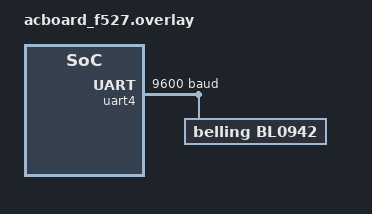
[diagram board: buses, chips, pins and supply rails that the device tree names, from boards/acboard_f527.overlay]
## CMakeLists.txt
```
# SPDX-License-Identifier: Apache-2.0

cmake_minimum_required(VERSION 3.20.0)

find_package(Zephyr REQUIRED HINTS $ENV{ZEPHYR_BASE})
project(acboard_bl0942_test)

target_sources(app PRIVATE src/main.c)
```

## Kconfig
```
# Copyright (c) 2026
# SPDX-License-Identifier: Apache-2.0

mainmenu "ACBoard BL0942 test"

source "Kconfig.zephyr"
```

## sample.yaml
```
sample:
  name: ACBoard BL0942 UART test
common:
  platform_allow:
    - acboard_f527
  tags:
    - sensor
    - uart
tests:
  sample.boards.acboard.bl0942_test:
    build_only: true
```

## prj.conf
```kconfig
CONFIG_SENSOR=y
CONFIG_SERIAL=y
CONFIG_UART_INTERRUPT_DRIVEN=y
CONFIG_PRINTK=y
CONFIG_LOG=n

CONFIG_MAIN_STACK_SIZE=1536
CONFIG_HEAP_MEM_POOL_SIZE=0
```

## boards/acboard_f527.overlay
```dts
/*
 * Copyright (c) 2026
 * SPDX-License-Identifier: Apache-2.0
 */

&uart4 {
	status = "okay";
	current-speed = <9600>;
	pinctrl-0 = <&uart4_default>;
	pinctrl-names = "default";

	bl0942: bl0942 {
		compatible = "belling,bl0942";
		/*
		 * ACBoard analog front-end (CAMS_METER schematic):
		 *  - Current: 2000:1 CT with 1.5 ohm burden, i.e. an effective
		 *    transimpedance of 1.5/2000 = 0.75 mOhm (32 A -> 24 mV).
		 *  - Voltage: ZMPT107 VT, 100k primary / 24.9 ohm burden, so
		 *    220 V gives 54.78 mV at VP -> ratio 220 / 0.05478 ~= 4016.
		 */
		voltage-divider-ratio = <4016>;
		current-shunt-microohm = <750>;
	};
};
```

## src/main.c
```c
/*
 * Copyright (c) 2026
 * SPDX-License-Identifier: Apache-2.0
 */

#include <stdlib.h>

#include <zephyr/device.h>
#include <zephyr/drivers/sensor.h>
#include <zephyr/kernel.h>
#include <zephyr/sys/printk.h>

#include <zephyr/drivers/sensor/bl0942.h>

#define BL0942_POLL_INTERVAL K_SECONDS(2)

static const struct device *const bl0942 = DEVICE_DT_GET_ONE(belling_bl0942);

static void print_channel(const char *name, enum sensor_channel chan, const char *unit)
{
	struct sensor_value val;
	int ret;

	ret = sensor_channel_get(bl0942, chan, &val);
	if (ret < 0) {
		printk("  %s: get failed (%d)\n", name, ret);
		return;
	}

	printk("  %s: %d.%06d %s\n", name, val.val1, abs(val.val2), unit);
}

int main(void)
{
	int ret;

	printk("\nACBoard BL0942 energy-meter sensor test\n");

	if (!device_is_ready(bl0942)) {
		printk("BL0942 device not ready\n");
		return 0;
	}

	while (true) {
		ret = sensor_sample_fetch(bl0942);
		if (ret < 0) {
			printk("sample_fetch failed: %d\n", ret);
			k_sleep(BL0942_POLL_INTERVAL);
			continue;
		}

		printk("BL0942:\n");
		print_channel("voltage", SENSOR_CHAN_VOLTAGE, "V");
		print_channel("current", SENSOR_CHAN_CURRENT, "A");
		print_channel("power", SENSOR_CHAN_POWER, "W");
		print_channel("frequency", SENSOR_CHAN_FREQUENCY, "Hz");
		print_channel("energy pulses", (enum sensor_channel)SENSOR_CHAN_BL0942_CF_CNT,
			      "cnt");

		k_sleep(BL0942_POLL_INTERVAL);
	}

	return 0;
}
```
